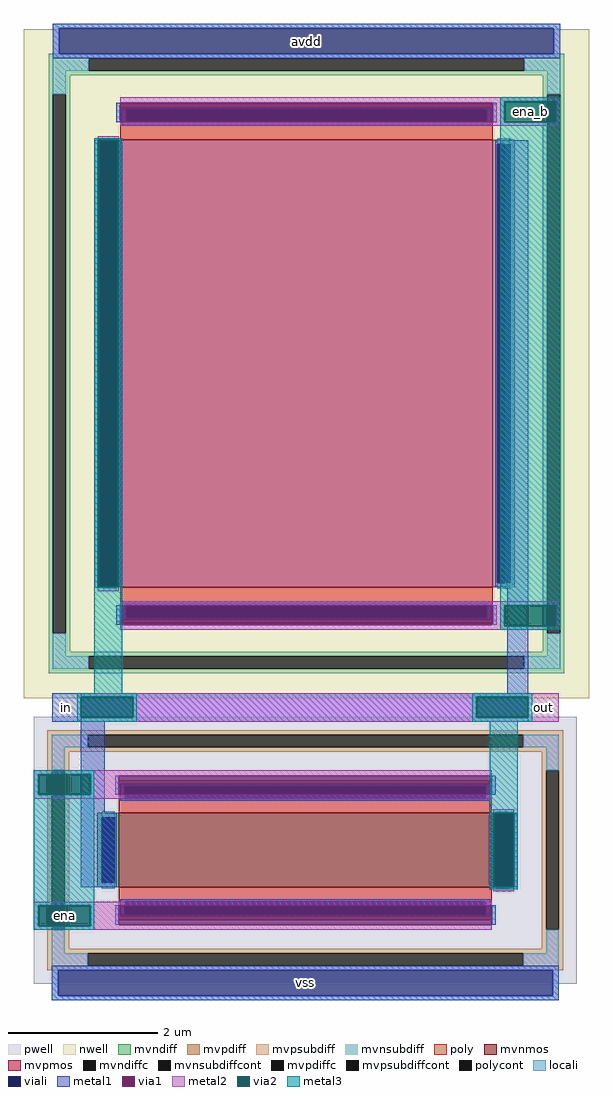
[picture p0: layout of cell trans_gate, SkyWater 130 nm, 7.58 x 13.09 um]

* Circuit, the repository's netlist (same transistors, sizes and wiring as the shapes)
** sch_path: /home/vblabs/sky130_vbl_ip__overvoltage/blocks/comp_hyst/xschem/trans_gate.sch
.subckt trans_gate in ena_b ena avdd vss out
*.PININFO avdd:B vss:B ena:I ena_b:I in:I out:O
XM1 in ena out vss sky130_fd_pr__nfet_g5v0d10v5 L=5 W=1 nf=1 m=1
XM2 in ena_b out avdd sky130_fd_pr__pfet_g5v0d10v5 L=5 W=6 nf=1 m=1
.ends
.end

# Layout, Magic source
magic
tech sky130A
magscale 1 2
<< locali >>
rect 1298 510 2658 522
rect 1298 442 1315 510
rect 2641 442 2658 510
rect 1298 430 2658 442
rect 1295 -2016 2655 -2004
rect 1295 -2084 1312 -2016
rect 2638 -2084 2655 -2016
rect 1295 -2096 2655 -2084
<< viali >>
rect 1315 442 2641 510
rect 1312 -2084 2638 -2016
<< metal1 >>
rect 1298 510 2658 522
rect 1298 442 1315 510
rect 2641 442 2658 510
rect 1298 430 2658 442
rect 1468 259 1478 311
rect 2478 259 2488 311
rect 1410 -989 1420 211
rect 1472 -989 1482 211
rect 2513 210 2516 211
rect 2513 -986 2573 210
rect 1468 -1089 1478 -1037
rect 2478 -1089 2488 -1037
rect 2516 -1273 2573 -986
rect 1296 -1349 2573 -1273
rect 1373 -1594 1437 -1349
rect 2516 -1350 2573 -1349
rect 1465 -1546 1475 -1494
rect 2475 -1546 2485 -1494
rect 1373 -1794 1469 -1594
rect 2471 -1794 2481 -1594
rect 2533 -1794 2543 -1594
rect 1465 -1894 1475 -1842
rect 2475 -1894 2485 -1842
rect 1295 -2016 2655 -2004
rect 1295 -2084 1312 -2016
rect 2638 -2084 2655 -2016
rect 1295 -2096 2655 -2084
<< via1 >>
rect 1478 259 2478 311
rect 1420 -989 1472 211
rect 1478 -1089 2478 -1037
rect 1475 -1546 2475 -1494
rect 2481 -1794 2533 -1594
rect 1475 -1894 2475 -1842
<< metal2 >>
rect 1478 315 2658 325
rect 1478 311 2508 315
rect 2478 259 2508 311
rect 2648 259 2658 315
rect 1478 249 2658 259
rect 1418 211 1474 221
rect 1418 -999 1474 -989
rect 1478 -1037 2658 -1027
rect 2478 -1089 2508 -1037
rect 1478 -1093 2508 -1089
rect 2648 -1093 2658 -1037
rect 1478 -1103 2658 -1093
rect 1373 -1283 2655 -1273
rect 1513 -1339 2433 -1283
rect 2573 -1339 2655 -1283
rect 1373 -1349 2655 -1339
rect 1247 -1490 2475 -1480
rect 1247 -1546 1259 -1490
rect 1399 -1494 2475 -1490
rect 1399 -1546 1475 -1494
rect 1247 -1556 2475 -1546
rect 2479 -1594 2535 -1584
rect 2479 -1804 2535 -1794
rect 1247 -1842 2475 -1832
rect 1247 -1898 1259 -1842
rect 1399 -1894 1475 -1842
rect 1399 -1898 2475 -1894
rect 1247 -1908 2475 -1898
<< via2 >>
rect 2508 259 2648 315
rect 1418 -989 1420 211
rect 1420 -989 1472 211
rect 1472 -989 1474 211
rect 2508 -1093 2648 -1037
rect 1373 -1339 1513 -1283
rect 2433 -1339 2573 -1283
rect 1259 -1546 1399 -1490
rect 2479 -1794 2481 -1594
rect 2481 -1794 2533 -1594
rect 2533 -1794 2535 -1594
rect 1259 -1898 1399 -1842
<< metal3 >>
rect 2498 315 2658 325
rect 2498 259 2508 315
rect 2648 259 2658 315
rect 1408 211 1484 216
rect 1408 -989 1418 211
rect 1474 -989 1484 211
rect 1408 -1273 1484 -989
rect 2498 -1037 2658 259
rect 2498 -1093 2508 -1037
rect 2648 -1093 2658 -1037
rect 2498 -1103 2658 -1093
rect 1363 -1283 1523 -1273
rect 1363 -1339 1373 -1283
rect 1513 -1339 1523 -1283
rect 1363 -1349 1523 -1339
rect 2423 -1283 2583 -1273
rect 2423 -1339 2433 -1283
rect 2573 -1339 2583 -1283
rect 2423 -1349 2583 -1339
rect 1247 -1490 1409 -1480
rect 1247 -1546 1259 -1490
rect 1399 -1546 1409 -1490
rect 1247 -1842 1409 -1546
rect 2469 -1594 2545 -1349
rect 2469 -1794 2479 -1594
rect 2535 -1794 2545 -1594
rect 2469 -1799 2545 -1794
rect 1247 -1898 1259 -1842
rect 1399 -1898 1409 -1842
rect 1247 -1908 1409 -1898
use sky130_fd_pr__nfet_g5v0d10v5_69BJMM  XM1
transform 1 0 1975 0 1 -1694
box -728 -358 728 358
use sky130_fd_pr__pfet_g5v0d10v5_E7V9VM  XM2
transform 1 0 1978 0 1 -389
box -758 -897 758 897
<< labels >>
flabel metal2 2573 -1349 2655 -1273 0 FreeSans 640 0 0 0 out
port 6 nsew
flabel metal1 1296 -1349 1373 -1273 0 FreeSans 640 0 0 0 in
port 1 nsew
flabel metal3 1247 -1908 1409 -1832 0 FreeSans 640 0 0 0 ena
port 3 nsew
flabel metal3 2498 249 2658 325 0 FreeSans 640 0 0 0 ena_b
port 2 nsew
flabel metal1 1295 -2096 2655 -2004 0 FreeSans 1280 0 0 0 vss
port 5 nsew
flabel metal1 1298 430 2658 522 0 FreeSans 1280 0 0 0 avdd
port 4 nsew
<< end >>

# cell sky130_fd_pr__nfet_g5v0d10v5_69BJMM: kit device sky130_fd_pr__nfet_g5v0d10v5, w 1.0 l 5.0 m 1 nf 1 diffcov 100 polycov 100 guard 1 glc 1 grc 1 gtc 1 gbc 1 tbcov 100 rlcov 100 topc 1 botc 1 poverlap 0 doverlap 1 lmin 0.50 wmin 0.42 compatible {sky130_fd_pr__nfet_01v8 sky130_fd_pr__nfet_01v8_lvt sky130_fd_bs_flash__special_sonosfet_star sky130_fd_pr__nfet_g5v0d10v5 sky130_fd_pr__nfet_05v0_nvt sky130_fd_pr__nfet_03v3_nvt} full_metal 1 viasrc 100 viadrn 100 viagate 100 viagb 0 viagr 0 viagl 0 viagt 0

# cell sky130_fd_pr__pfet_g5v0d10v5_E7V9VM: kit device sky130_fd_pr__pfet_g5v0d10v5, w 6.0 l 5.0 m 1 nf 1 diffcov 100 polycov 100 guard 1 glc 1 grc 1 gtc 1 gbc 1 tbcov 100 rlcov 100 topc 1 botc 1 poverlap 0 doverlap 1 lmin 0.50 wmin 0.42 compatible {sky130_fd_pr__pfet_01v8 sky130_fd_pr__pfet_01v8_lvt sky130_fd_pr__pfet_01v8_hvt sky130_fd_pr__pfet_g5v0d10v5} full_metal 1 viasrc 100 viadrn 100 viagate 100 viagb 0 viagr 0 viagl 0 viagt 0
